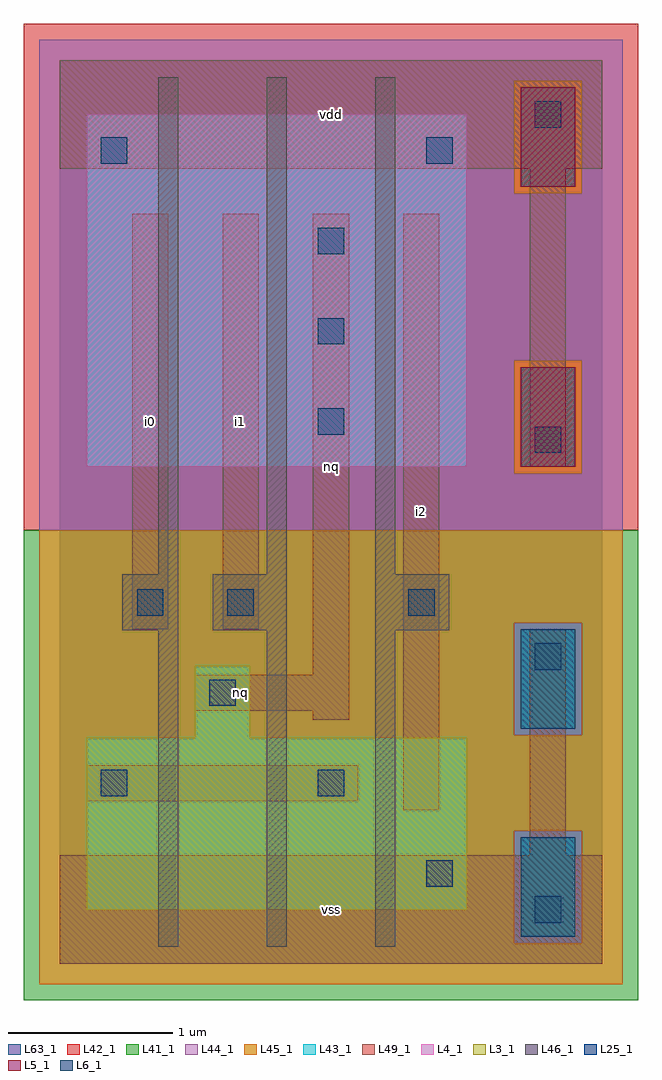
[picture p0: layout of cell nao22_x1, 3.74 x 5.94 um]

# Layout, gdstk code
import gdstk
lib = gdstk.Library(unit=1e-6, precision=1e-09)
def R(c, l, rs):  # rectangles x0, y0, x1, y1
    for r in rs: c.add(gdstk.rectangle(r[:2], r[2:], *l))
def A(c, l, x, y, w, h, nx, ny, dx, dy):  # array of equal rectangles
    R(c, l, [(x+i*dx, y+j*dy, x+i*dx+w, y+j*dy+h) for i in range(nx) for j in range(ny)])
L3_1 = (3, 1)
L4_1 = (4, 1)
L5_1 = (5, 1)
L6_1 = (6, 1)
L25_1 = (25, 1)
L41_1 = (41, 1)
L42_1 = (42, 1)
L43_1 = (43, 1)
L44_1 = (44, 1)
L45_1 = (45, 1)
L46_1 = (46, 1)
L49_1 = (49, 1)
L63_1 = (63, 1)

nao22_x1 = lib.new_cell('nao22_x1')
R(nao22_x1, L3_1, [(0.165,0.33,2.475,1.375), (0.825,1.375,1.155,1.815)])
R(nao22_x1, L4_1, [(0.165,3.025,2.475,5.17)])
R(nao22_x1, L5_1, [(2.805,3.025,3.135,3.63), (2.805,4.73,3.135,5.335)])
R(nao22_x1, L6_1, [(2.805,0.165,3.135,0.77), (2.805,1.43,3.135,2.035)])
A(nao22_x1, L25_1, 1.57, 3.22, 0.16, 0.16, 1, 3, 0, 0.55)
R(nao22_x1, L25_1, [(2.89,0.25,3.05,0.41), (2.23,0.47,2.39,0.63), (0.25,1.02,0.41,1.18), (1.57,1.02,1.73,1.18), (0.91,1.57,1.07,1.73), (2.89,1.79,3.05,1.95), (0.47,2.12,0.63,2.28), (1.02,2.12,1.18,2.28), (2.12,2.12,2.28,2.28), (2.89,3.11,3.05,3.27), (0.25,4.87,0.41,5.03), (2.23,4.87,2.39,5.03), (2.89,5.09,3.05,5.25)])
R(nao22_x1, L41_1, [(-0.22,-0.22,3.52,2.64)])
R(nao22_x1, L42_1, [(-0.22,2.64,3.52,5.72)])
R(nao22_x1, L43_1, [(2.805,0.165,3.135,0.77), (0.165,0.33,2.475,1.375), (0.825,1.375,1.155,1.815), (2.805,1.43,3.135,2.035), (0.165,3.025,2.475,5.17), (2.805,3.025,3.135,3.63), (2.805,4.73,3.135,5.335)])
R(nao22_x1, L44_1, [(2.765,0.125,3.175,0.81), (2.765,1.39,3.175,2.075), (-0.125,2.64,3.425,2.985), (-0.125,2.985,2.765,3.67), (3.175,2.985,3.425,3.67), (-0.125,3.67,3.425,4.69), (-0.125,4.69,2.765,5.375), (3.175,4.69,3.425,5.375), (-0.125,5.375,3.425,5.625)])
R(nao22_x1, L45_1, [(-0.125,-0.125,3.425,0.125), (-0.125,0.125,2.765,0.81), (3.175,0.125,3.425,0.81), (-0.125,0.81,3.425,1.39), (-0.125,1.39,2.765,2.075), (3.175,1.39,3.425,2.075), (-0.125,2.075,3.425,2.64), (2.765,2.985,3.175,3.67), (2.765,4.69,3.175,5.375)])
A(nao22_x1, L46_1, 0.6, 0.105, 0.12, 1.925, 3, 1, 0.66, 0)
A(nao22_x1, L46_1, 0.6, 2.37, 0.12, 3.025, 3, 1, 0.66, 0)
R(nao22_x1, L46_1, [(0.38,2.03,0.72,2.37), (0.93,2.03,1.38,2.37), (1.92,2.03,2.37,2.37)])
R(nao22_x1, L49_1, [(0,0,3.3,0.66), (2.86,0.66,3.08,2.035), (2.09,0.935,2.31,4.565), (0.165,0.99,1.815,1.21), (1.54,1.485,1.76,1.54), (0.825,1.54,1.76,1.76), (1.54,1.76,1.76,4.565), (0.44,2.035,0.66,4.565), (0.99,2.035,1.21,4.565), (2.86,3.025,3.08,4.84), (0,4.84,3.3,5.5)])
R(nao22_x1, L63_1, [(0,0,3.3,5.5)])
nao22_x1.add(gdstk.Label('i0', (0.55,3.3), layer=49, texttype=1))
nao22_x1.add(gdstk.Label('nq', (1.1,1.65), layer=49, texttype=1))
nao22_x1.add(gdstk.Label('i1', (1.1,3.3), layer=49, texttype=1))
nao22_x1.add(gdstk.Label('vss', (1.65,0.33), layer=49, texttype=1))
nao22_x1.add(gdstk.Label('i2', (2.2,2.75), layer=49, texttype=1))
nao22_x1.add(gdstk.Label('nq', (1.65,3.025), layer=49, texttype=1))
nao22_x1.add(gdstk.Label('vdd', (1.65,5.17), layer=49, texttype=1))

lib.write_gds('nao22_x1.gds')
